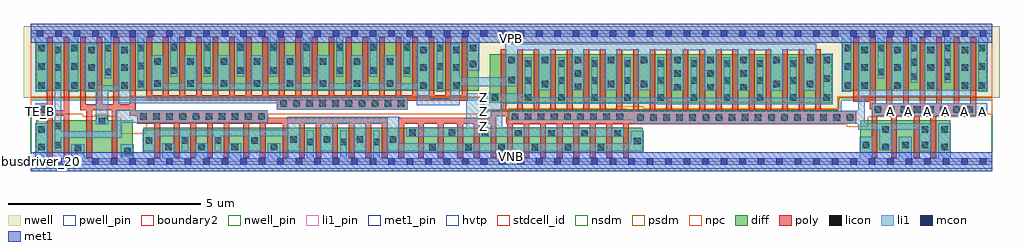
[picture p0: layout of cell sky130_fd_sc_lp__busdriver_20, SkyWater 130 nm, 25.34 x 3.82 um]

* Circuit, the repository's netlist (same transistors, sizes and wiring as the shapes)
* Copyright 2020 The SkyWater PDK Authors
*
* Licensed under the Apache License, Version 2.0 (the "License");
* you may not use this file except in compliance with the License.
* You may obtain a copy of the License at
*
*     https://www.apache.org/licenses/LICENSE-2.0
*
* Unless required by applicable law or agreed to in writing, software
* distributed under the License is distributed on an "AS IS" BASIS,
* WITHOUT WARRANTIES OR CONDITIONS OF ANY KIND, either express or implied.
* See the License for the specific language governing permissions and
* limitations under the License.
*
* SPDX-License-Identifier: Apache-2.0

.SUBCKT sky130_fd_sc_lp__busdriver_20 A TE_B VGND VNB VPB VPWR Z
*.PININFO A:I TE_B:I VGND:I VNB:I VPB:I VPWR:I Z:O
MMN0 Z net50 sndA VNB sky130_fd_pr__nfet_01v8 m=14 w=0.64U l=0.15U mult=1 sa=0.265
+ sb=0.265 sd=0.28 area=0.063 perim=1.14
MMN1 sndA net47 VGND VNB sky130_fd_pr__nfet_01v8 m=14 w=0.64U l=0.15U mult=1 sa=0.265
+ sb=0.265 sd=0.28 area=0.063 perim=1.14
MMIN1 net47 TE_B VGND VNB sky130_fd_pr__nfet_01v8 m=2 w=0.84U l=0.15U mult=1 sa=0.265
+ sb=0.265 sd=0.28 area=0.063 perim=1.14
MI6 net50 A VGND VNB sky130_fd_pr__nfet_01v8 m=4 w=0.84U l=0.15U mult=1 sa=0.265
+ sb=0.265 sd=0.28 area=0.063 perim=1.14
MI8 net62 net47 VGND VNB sky130_fd_pr__nfet_01v8 m=2 w=0.84U l=0.15U mult=1 sa=0.265
+ sb=0.265 sd=0.28 area=0.063 perim=1.14
MMP0 VPWR net62 sndTEB VPB sky130_fd_pr__pfet_01v8_hvt m=20 w=1.26U l=0.15U mult=1
+ sa=0.265 sb=0.265 sd=0.28 area=0.063 perim=1.14
MMP1 sndTEB net50 Z VPB sky130_fd_pr__pfet_01v8_hvt m=20 w=1.26U l=0.15U mult=1
+ sa=0.265 sb=0.265 sd=0.28 area=0.063 perim=1.14
MMIP1 net47 TE_B VPWR VPB sky130_fd_pr__pfet_01v8_hvt m=2 w=1.26U l=0.15U mult=1
+ sa=0.265 sb=0.265 sd=0.28 area=0.063 perim=1.14
MI7 net62 net47 VPWR VPB sky130_fd_pr__pfet_01v8_hvt m=4 w=1.26U l=0.15U mult=1
+ sa=0.265 sb=0.265 sd=0.28 area=0.063 perim=1.14
MI5 net50 A VPWR VPB sky130_fd_pr__pfet_01v8_hvt m=8 w=1.26U l=0.15U mult=1 sa=0.265
+ sb=0.265 sd=0.28 area=0.063 perim=1.14
.ENDS sky130_fd_sc_lp__busdriver_20

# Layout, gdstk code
import gdstk
lib = gdstk.Library(unit=1e-6, precision=1e-09)
def R(c, l, rs):  # rectangles x0, y0, x1, y1
    for r in rs: c.add(gdstk.rectangle(r[:2], r[2:], *l))
def A(c, l, x, y, w, h, nx, ny, dx, dy):  # array of equal rectangles
    R(c, l, [(x+i*dx, y+j*dy, x+i*dx+w, y+j*dy+h) for i in range(nx) for j in range(ny)])
def P(c, l, *ps):  # polygons
    for p in ps: c.add(gdstk.Polygon(p, *l))
nwell_pin = (64, 16)
nwell = (64, 20)
diff = (65, 20)
poly = (66, 20)
licon = (66, 44)
li1_pin = (67, 16)
li1 = (67, 20)
mcon = (67, 44)
met1_pin = (68, 16)
met1 = (68, 20)
hvtp = (78, 44)
stdcell_id = (81, 4)
nsdm = (93, 44)
psdm = (94, 20)
npc = (95, 20)
pwell_pin = (122, 16)
boundary2 = (236, 0)

sky130_fd_sc_lp__busdriv = lib.new_cell('sky130_fd_sc_lp__busdriver_20')
R(sky130_fd_sc_lp__busdriv, nwell_pin, [(0,3.085,24.96,3.33)])
P(sky130_fd_sc_lp__busdriv, nwell, [(25.15,3.52),(-0.19,3.52),(-0.19,1.655),(11.73,1.655),(11.73,1.345),(20.98,1.345),(20.98,1.655),(25.15,1.655)])
R(sky130_fd_sc_lp__busdriv, diff, [(2.92,0.235,15.89,0.875), (21.54,0.235,23.87,1.075), (11.91,1.525,20.8,2.785), (0.135,1.835,11.625,3.095), (21.07,1.835,24.825,3.095)])
P(sky130_fd_sc_lp__busdriv, diff, [(2.65,1.075),(1.99,1.075),(1.99,1.205),(1.7,1.205),(1.7,1.075),(0.135,1.075),(0.135,0.235),(1.075,0.235),(1.075,0.215),(1.365,0.215),(1.365,0.235),(2.36,0.235),(2.36,0.135),(2.65,0.135)])
P(sky130_fd_sc_lp__busdriv, poly, [(1,3.225),(0.85,3.225),(0.85,1.335),(0.57,1.335),(0.57,3.225),(0.42,3.225),(0.42,1.515),(0.115,1.515),(0.115,1.185),(0.42,1.185),(0.42,0.105),(0.57,0.105),(0.57,1.185),(0.85,1.185),(0.85,0.105),(1,0.105)],
  [(9.265,1.135),(6.15,1.135),(6.15,1.335),(2.72,1.335),(2.72,3.225),(2.57,3.225),(2.57,1.485),(2.29,1.485),(2.29,3.225),(2.14,3.225),(2.14,1.485),(1.86,1.485),(1.86,3.225),(1.71,3.225),(1.71,1.485),(1.43,1.485),(1.43,3.225),(1.28,3.225),(1.28,1.335),(1.44,1.335),(1.44,0.105),(1.59,0.105),(1.59,1.335),(2.1,1.335),(2.1,0.105),(2.25,0.105),(2.25,1.335),(2.57,1.335),(2.57,1.185),(2.76,1.185),(2.76,0.985),(3.205,0.985),(3.205,0.105),(3.355,0.105),(3.355,0.985),(3.715,0.985),(3.715,0.105),(3.865,0.105),(3.865,0.985),(4.145,0.985),(4.145,0.105),(4.295,0.105),(4.295,0.985),(4.575,0.985),(4.575,0.105),(4.725,0.105),(4.725,0.985),(5.005,0.985),(5.005,0.105),(5.155,0.105),(5.155,0.985),(5.515,0.985),(5.515,0.105),(5.665,0.105),(5.665,0.985),(5.945,0.985),(5.945,0.105),(6.095,0.105),(6.095,0.985),(6.535,0.985),(6.535,0.105),(6.685,0.105),(6.685,0.985),(6.965,0.985),(6.965,0.105),(7.115,0.105),(7.115,0.985),(7.395,0.985),(7.395,0.105),(7.545,0.105),(7.545,0.985),(7.825,0.985),(7.825,0.105),(7.975,0.105),(7.975,0.985),(8.255,0.985),(8.255,0.105),(8.405,0.105),(8.405,0.985),(8.685,0.985),(8.685,0.105),(8.835,0.105),(8.835,0.985),(9.115,0.985),(9.115,0.105),(9.265,0.105)],
  [(11.34,3.225),(11.19,3.225),(11.19,1.725),(10.91,1.725),(10.91,3.225),(10.76,3.225),(10.76,1.725),(10.48,1.725),(10.48,3.225),(10.33,3.225),(10.33,1.725),(10.05,1.725),(10.05,3.225),(9.9,3.225),(9.9,1.725),(9.62,1.725),(9.62,3.225),(9.47,3.225),(9.47,1.725),(9.19,1.725),(9.19,3.225),(9.04,3.225),(9.04,1.725),(8.76,1.725),(8.76,3.225),(8.61,3.225),(8.61,1.725),(8.33,1.725),(8.33,3.225),(8.18,3.225),(8.18,1.725),(7.88,1.725),(7.88,3.225),(7.73,3.225),(7.73,1.725),(7.45,1.725),(7.45,3.225),(7.3,3.225),(7.3,1.725),(7.02,1.725),(7.02,3.225),(6.87,3.225),(6.87,1.725),(6.59,1.725),(6.59,3.225),(6.44,3.225),(6.44,1.725),(6.16,1.725),(6.16,3.225),(6.01,3.225),(6.01,1.725),(5.73,1.725),(5.73,3.225),(5.58,3.225),(5.58,1.725),(5.3,1.725),(5.3,3.225),(5.15,3.225),(5.15,1.725),(4.87,1.725),(4.87,3.225),(4.72,3.225),(4.72,1.725),(4.44,1.725),(4.44,3.225),(4.29,3.225),(4.29,1.725),(4.01,1.725),(4.01,3.225),(3.86,3.225),(3.86,1.725),(3.58,1.725),(3.58,3.225),(3.43,3.225),(3.43,1.725),(3.15,1.725),(3.15,3.225),(3,3.225),(3,1.575),(6.39,1.575),(6.39,1.345),(9.78,1.345),(9.78,1.575),(11.34,1.575)],
  [(24.54,3.225),(24.39,3.225),(24.39,1.515),(24.11,1.515),(24.11,3.225),(23.96,3.225),(23.96,1.515),(23.655,1.515),(23.655,3.225),(23.505,3.225),(23.505,1.515),(23.225,1.515),(23.225,3.225),(23.075,3.225),(23.075,1.515),(22.795,1.515),(22.795,3.225),(22.645,3.225),(22.645,1.515),(22.365,1.515),(22.365,3.225),(22.215,3.225),(22.215,1.515),(21.935,1.515),(21.935,3.225),(21.785,3.225),(21.785,1.705),(21.505,1.705),(21.505,3.225),(21.355,3.225),(21.355,1.555),(21.785,1.555),(21.785,1.365),(21.83,1.365),(21.83,0.105),(21.98,0.105),(21.98,1.185),(22.335,1.185),(22.335,0.105),(22.485,0.105),(22.485,1.185),(22.925,1.185),(22.925,0.105),(23.075,0.105),(23.075,1.185),(23.355,1.185),(23.355,0.105),(23.505,0.105),(23.505,1.185),(24.54,1.185)],
  [(21.43,1.315),(20.515,1.315),(20.515,2.915),(20.365,2.915),(20.365,1.315),(20.085,1.315),(20.085,2.915),(19.935,2.915),(19.935,1.315),(19.655,1.315),(19.655,2.915),(19.505,2.915),(19.505,1.315),(19.225,1.315),(19.225,2.915),(19.075,2.915),(19.075,1.315),(18.795,1.315),(18.795,2.915),(18.645,2.915),(18.645,1.325),(18.365,1.325),(18.365,2.915),(18.215,2.915),(18.215,1.325),(17.935,1.325),(17.935,2.915),(17.785,2.915),(17.785,1.325),(17.505,1.325),(17.505,2.915),(17.355,2.915),(17.355,1.325),(17.075,1.325),(17.075,2.915),(16.925,2.915),(16.925,1.325),(16.645,1.325),(16.645,2.915),(16.495,2.915),(16.495,1.325),(16.215,1.325),(16.215,2.915),(16.065,2.915),(16.065,1.325),(15.785,1.325),(15.785,2.915),(15.635,2.915),(15.635,1.325),(15.355,1.325),(15.355,2.915),(15.205,2.915),(15.205,1.325),(14.925,1.325),(14.925,2.915),(14.775,2.915),(14.775,1.325),(14.495,1.325),(14.495,2.915),(14.345,2.915),(14.345,1.325),(14.065,1.325),(14.065,2.915),(13.915,2.915),(13.915,1.325),(13.635,1.325),(13.635,2.915),(13.485,2.915),(13.485,1.325),(13.205,1.325),(13.205,2.915),(13.055,2.915),(13.055,1.325),(12.775,1.325),(12.775,2.915),(12.625,2.915),(12.625,1.325),(12.345,1.325),(12.345,2.915),(12.195,2.915),(12.195,1.325),(11.935,1.325),(11.935,1.135),(9.545,1.135),(9.545,0.105),(9.695,0.105),(9.695,0.985),(10.055,0.985),(10.055,0.105),(10.205,0.105),(10.205,0.985),(10.565,0.985),(10.565,0.105),(10.715,0.105),(10.715,0.985),(11.075,0.985),(11.075,0.105),(11.225,0.105),(11.225,0.985),(11.505,0.985),(11.505,0.105),(11.655,0.105),(11.655,0.985),(11.935,0.985),(11.935,0.105),(12.085,0.105),(12.085,1.175),(12.345,1.175),(12.345,0.985),(12.365,0.985),(12.365,0.105),(12.515,0.105),(12.515,0.985),(12.795,0.985),(12.795,0.105),(12.945,0.105),(12.945,0.985),(13.225,0.985),(13.225,0.105),(13.375,0.105),(13.375,0.985),(13.655,0.985),(13.655,0.105),(13.805,0.105),(13.805,0.985),(14.085,0.985),(14.085,0.105),(14.235,0.105),(14.235,0.985),(14.515,0.985),(14.515,0.105),(14.665,0.105),(14.665,0.985),(14.945,0.985),(14.945,0.105),(15.095,0.105),(15.095,0.985),(15.375,0.985),(15.375,0.105),(15.525,0.105),(15.525,0.985),(21.43,0.985)])
A(sky130_fd_sc_lp__busdriv, licon, 11.28, 0.295, 0.17, 0.17, 5, 1, 0.86, 0)
A(sky130_fd_sc_lp__busdriv, licon, 3.49, 0.3, 0.17, 0.17, 3, 1, 0.86, 0)
A(sky130_fd_sc_lp__busdriv, licon, 7.17, 0.43, 0.17, 0.17, 3, 1, 0.86, 0)
A(sky130_fd_sc_lp__busdriv, licon, 6.74, 0.495, 0.17, 0.17, 4, 1, 0.86, 0)
A(sky130_fd_sc_lp__busdriv, licon, 11.71, 0.645, 0.17, 0.17, 5, 1, 0.86, 0)
A(sky130_fd_sc_lp__busdriv, licon, 15.74, 1.065, 0.17, 0.17, 17, 1, 0.34, 0)
A(sky130_fd_sc_lp__busdriv, licon, 12.485, 1.075, 0.17, 0.17, 9, 1, 0.34, 0)
A(sky130_fd_sc_lp__busdriv, licon, 2.84, 1.085, 0.17, 0.17, 10, 1, 0.34, 0)
A(sky130_fd_sc_lp__busdriv, licon, 21.91, 1.265, 0.17, 0.17, 8, 1, 0.34, 0)
A(sky130_fd_sc_lp__busdriv, licon, 6.47, 1.425, 0.17, 0.17, 10, 1, 0.34, 0)
A(sky130_fd_sc_lp__busdriv, licon, 11.97, 1.585, 0.17, 0.17, 11, 1, 0.86, 0)
A(sky130_fd_sc_lp__busdriv, licon, 16.7, 1.845, 0.17, 0.17, 3, 2, 0.86, 0.355)
A(sky130_fd_sc_lp__busdriv, licon, 0.195, 1.895, 0.17, 0.17, 4, 1, 0.43, 0)
A(sky130_fd_sc_lp__busdriv, licon, 10.105, 1.895, 0.17, 0.17, 3, 1, 0.43, 0)
A(sky130_fd_sc_lp__busdriv, licon, 21.56, 1.895, 0.17, 0.17, 3, 3, 0.86, 0.46)
A(sky130_fd_sc_lp__busdriv, licon, 24.165, 1.895, 0.17, 0.17, 1, 3, 0, 0.46)
A(sky130_fd_sc_lp__busdriv, licon, 24.595, 1.895, 0.17, 0.17, 1, 3, 0, 0.485)
A(sky130_fd_sc_lp__busdriv, licon, 3.205, 1.945, 0.17, 0.17, 6, 2, 0.86, 0.57)
A(sky130_fd_sc_lp__busdriv, licon, 12.83, 2.025, 0.17, 0.17, 9, 2, 0.86, 0.44)
A(sky130_fd_sc_lp__busdriv, licon, 3.635, 2.285, 0.17, 0.17, 6, 2, 0.86, 0.6)
A(sky130_fd_sc_lp__busdriv, licon, 0.625, 2.355, 0.17, 0.17, 3, 2, 0.86, 0.46)
A(sky130_fd_sc_lp__busdriv, licon, 12.4, 2.555, 0.17, 0.17, 10, 1, 0.86, 0)
A(sky130_fd_sc_lp__busdriv, licon, 0.195, 2.865, 0.17, 0.17, 4, 1, 0.86, 0)
A(sky130_fd_sc_lp__busdriv, licon, 21.13, 2.865, 0.17, 0.17, 4, 1, 0.86, 0)
R(sky130_fd_sc_lp__busdriv, licon, [(2.42,0.195,2.59,0.365), (1.135,0.275,1.305,0.445), (0.195,0.295,0.365,0.465), (10.34,0.295,10.51,0.465), (22.11,0.295,22.28,0.465), (23.64,0.295,23.81,0.465), (6.23,0.3,6.4,0.47), (0.625,0.345,0.795,0.515), (21.6,0.345,21.77,0.515), (22.62,0.345,22.79,0.515), (23.13,0.345,23.3,0.515), (15.66,0.45,15.83,0.62), (2.98,0.46,3.15,0.63), (3.92,0.46,4.09,0.63), (4.78,0.46,4.95,0.63), (5.72,0.46,5.89,0.63), (9.83,0.665,10,0.835), (10.85,0.665,11.02,0.835), (0.195,0.75,0.365,0.92), (22.11,0.75,22.28,0.92), (23.13,0.75,23.3,0.92), (23.64,0.75,23.81,0.92), (0.625,0.845,0.795,1.015), (1.76,0.975,1.93,1.145), (0.195,1.265,0.365,1.435), (14.12,1.855,14.29,2.025), (2.345,1.895,2.515,2.065), (21.13,1.895,21.3,2.065), (19.28,1.925,19.45,2.095), (20.14,1.925,20.31,2.095), (2.775,1.935,2.945,2.105), (13.26,1.935,13.43,2.105), (14.98,1.935,15.15,2.105), (15.84,1.935,16.01,2.105), (8.385,1.945,8.555,2.115), (9.245,1.945,9.415,2.115), (12.4,2.04,12.57,2.21), (20.57,2.07,20.74,2.24), (22.85,2.125,23.02,2.295), (23.71,2.125,23.88,2.295), (14.12,2.205,14.29,2.375), (1.915,2.245,2.085,2.415), (21.99,2.245,22.16,2.415), (8.815,2.285,8.985,2.455), (9.675,2.285,9.845,2.455), (10.105,2.355,10.275,2.525), (10.965,2.355,11.135,2.525), (0.195,2.38,0.365,2.55), (1.055,2.38,1.225,2.55), (10.535,2.38,10.705,2.55), (21.13,2.38,21.3,2.55), (2.775,2.4,2.945,2.57), (11.395,2.445,11.565,2.615), (22.85,2.495,23.02,2.665), (23.71,2.495,23.88,2.665), (8.385,2.515,8.555,2.685), (9.245,2.515,9.415,2.685), (20.57,2.555,20.74,2.725), (10.105,2.815,10.275,2.985), (10.965,2.815,11.135,2.985), (10.535,2.865,10.705,3.035), (11.395,2.865,11.565,3.035), (8.815,2.885,8.985,3.055), (9.675,2.885,9.845,3.055)])
A(sky130_fd_sc_lp__busdriv, li1_pin, 11.675, 0.84, 0.17, 0.17, 1, 3, 0, 0.37)
A(sky130_fd_sc_lp__busdriv, li1_pin, 22.235, 1.21, 0.17, 0.17, 6, 1, 0.48, 0)
R(sky130_fd_sc_lp__busdriv, li1_pin, [(0.155,1.21,0.325,1.38)])
R(sky130_fd_sc_lp__busdriv, li1, [(0.115,1.18,0.445,1.515), (21.83,1.18,24.835,1.515)])
P(sky130_fd_sc_lp__busdriv, li1, [(9.78,1.685),(2.595,1.685),(2.595,3.065),(2.265,3.065),(2.265,1.985),(1.735,1.985),(1.735,3.065),(1.405,3.065),(1.405,1.815),(1.68,1.815),(1.68,0.975),(2.01,0.975),(2.01,1.815),(2.265,1.815),(2.265,1.515),(6.39,1.515),(6.39,1.345),(9.78,1.345)],
  [(6.15,1.335),(2.19,1.335),(2.19,0.795),(0.795,0.795),(0.795,3.065),(0.625,3.065),(0.625,0.265),(0.795,0.265),(0.795,0.625),(2.36,0.625),(2.36,1.005),(6.15,1.005)],
  [(20.82,2.805),(20.57,2.805),(20.57,1.665),(19.88,1.665),(19.88,2.715),(19.71,2.715),(19.71,1.665),(19.02,1.665),(19.02,2.715),(18.85,2.715),(18.85,1.665),(18.16,1.665),(18.16,2.715),(17.99,2.715),(17.99,1.665),(17.3,1.665),(17.3,2.715),(17.13,2.715),(17.13,1.665),(16.44,1.665),(16.44,2.715),(16.27,2.715),(16.27,1.675),(15.58,1.675),(15.58,2.715),(15.41,2.715),(15.41,1.675),(14.72,1.675),(14.72,2.715),(14.55,2.715),(14.55,1.675),(13.86,1.675),(13.86,2.715),(13.69,2.715),(13.69,1.675),(13,1.675),(13,2.715),(12.83,2.715),(12.83,1.78),(11.305,1.78),(11.305,0.895),(9.75,0.895),(9.75,0.645),(15.4,0.645),(15.4,0.895),(12.235,0.895),(12.235,1.505),(16.27,1.505),(16.27,1.495),(20.82,1.495)],
  [(20.39,3.065),(12.32,3.065),(12.32,2.185),(11.135,2.185),(11.135,3.065),(10.885,3.065),(10.885,1.635),(10.355,1.635),(10.355,3.065),(10.025,3.065),(10.025,2.035),(9.495,2.035),(9.495,2.765),(9.165,2.765),(9.165,2.035),(8.635,2.035),(8.635,2.765),(8.305,2.765),(8.305,2.035),(7.755,2.035),(7.755,2.765),(7.425,2.765),(7.425,2.035),(6.895,2.035),(6.895,2.765),(6.565,2.765),(6.565,2.035),(6.035,2.035),(6.035,2.765),(5.705,2.765),(5.705,2.035),(5.175,2.035),(5.175,2.765),(4.845,2.765),(4.845,2.035),(4.315,2.035),(4.315,2.765),(3.985,2.765),(3.985,2.035),(3.455,2.035),(3.455,2.765),(3.125,2.765),(3.125,1.865),(10.025,1.865),(10.025,1.465),(11.135,1.465),(11.135,1.96),(12.65,1.96),(12.65,2.895),(13.18,2.895),(13.18,1.855),(13.51,1.855),(13.51,2.895),(14.04,2.895),(14.04,1.855),(14.37,1.855),(14.37,2.895),(14.9,2.895),(14.9,1.855),(15.23,1.855),(15.23,2.895),(15.76,2.895),(15.76,1.855),(16.09,1.855),(16.09,2.895),(16.62,2.895),(16.62,1.845),(16.95,1.845),(16.95,2.895),(17.48,2.895),(17.48,1.845),(17.81,1.845),(17.81,2.895),(18.34,2.895),(18.34,1.845),(18.67,1.845),(18.67,2.895),(19.2,2.895),(19.2,1.845),(19.53,1.845),(19.53,2.895),(20.06,2.895),(20.06,1.845),(20.39,1.845)],
  [(15.91,0.805),(15.58,0.805),(15.58,0.475),(9.57,0.475),(9.57,1.165),(6.66,1.165),(6.66,0.825),(2.9,0.825),(2.9,0.265),(3.23,0.265),(3.23,0.655),(3.92,0.655),(3.92,0.265),(4.09,0.265),(4.09,0.655),(4.78,0.655),(4.78,0.265),(4.95,0.265),(4.95,0.655),(5.64,0.655),(5.64,0.265),(5.97,0.265),(5.97,0.655),(6.66,0.655),(6.66,0.265),(6.99,0.265),(6.99,0.995),(7.52,0.995),(7.52,0.265),(7.85,0.265),(7.85,0.995),(8.38,0.995),(8.38,0.265),(8.71,0.265),(8.71,0.995),(9.24,0.995),(9.24,0.265),(15.91,0.265)],
  [(24.415,3.065),(24.085,3.065),(24.085,1.865),(23.53,1.865),(23.53,3.065),(23.2,3.065),(23.2,1.865),(22.67,1.865),(22.67,3.065),(22.34,3.065),(22.34,1.865),(21.81,1.865),(21.81,3.065),(21.48,3.065),(21.48,1.315),(15.455,1.315),(15.455,1.325),(12.405,1.325),(12.405,1.075),(15.66,1.075),(15.66,0.985),(21.48,0.985),(21.48,0.83),(22.03,0.83),(22.03,0.295),(22.36,0.295),(22.36,0.83),(23.05,0.83),(23.05,0.265),(23.38,0.265),(23.38,1),(21.65,1),(21.65,1.695),(24.415,1.695)],
  [(24.96,0.085),(23.89,0.085),(23.89,1),(23.56,1),(23.56,0.085),(22.87,0.085),(22.87,0.65),(22.54,0.65),(22.54,0.085),(21.85,0.085),(21.85,0.65),(21.52,0.65),(21.52,0.085),(9.06,0.085),(9.06,0.815),(8.89,0.815),(8.89,0.085),(8.2,0.085),(8.2,0.815),(8.03,0.815),(8.03,0.085),(7.34,0.085),(7.34,0.815),(7.17,0.815),(7.17,0.085),(6.48,0.085),(6.48,0.475),(6.15,0.475),(6.15,0.085),(5.46,0.085),(5.46,0.475),(5.13,0.475),(5.13,0.085),(4.6,0.085),(4.6,0.475),(4.27,0.475),(4.27,0.085),(3.74,0.085),(3.74,0.475),(3.41,0.475),(3.41,0.085),(2.67,0.085),(2.67,0.445),(2.34,0.445),(2.34,0.085),(1.385,0.085),(1.385,0.445),(1.055,0.445),(1.055,0.085),(0.445,0.085),(0.445,1),(0.115,1),(0.115,0.085),(0,0.085),(0,-0.085),(24.96,-0.085)],
  [(24.96,3.415),(0,3.415),(0,3.245),(0.115,3.245),(0.115,1.815),(0.445,1.815),(0.445,3.245),(0.975,3.245),(0.975,1.815),(1.225,1.815),(1.225,3.245),(1.915,3.245),(1.915,2.165),(2.085,2.165),(2.085,3.245),(2.775,3.245),(2.775,1.855),(2.945,1.855),(2.945,3.245),(3.625,3.245),(3.625,2.205),(3.815,2.205),(3.815,3.245),(4.485,3.245),(4.485,2.205),(4.675,2.205),(4.675,3.245),(5.345,3.245),(5.345,2.205),(5.535,2.205),(5.535,3.245),(6.205,3.245),(6.205,2.205),(6.395,2.205),(6.395,3.245),(7.065,3.245),(7.065,2.205),(7.255,2.205),(7.255,3.245),(7.925,3.245),(7.925,2.205),(8.115,2.205),(8.115,3.245),(8.805,3.245),(8.805,2.205),(8.995,2.205),(8.995,3.245),(9.665,3.245),(9.665,2.205),(9.855,2.205),(9.855,3.245),(10.535,3.245),(10.535,1.815),(10.705,1.815),(10.705,3.245),(11.315,3.245),(11.315,2.365),(11.645,2.365),(11.645,3.245),(21.05,3.245),(21.05,1.815),(21.3,1.815),(21.3,3.245),(21.99,3.245),(21.99,2.165),(22.16,2.165),(22.16,3.245),(22.85,3.245),(22.85,2.045),(23.02,2.045),(23.02,3.245),(23.71,3.245),(23.71,2.045),(23.88,2.045),(23.88,3.245),(24.595,3.245),(24.595,1.815),(24.845,1.815),(24.845,3.245),(24.96,3.245)])
A(sky130_fd_sc_lp__busdriv, mcon, 0.155, -0.085, 0.17, 0.17, 52, 2, 0.48, 3.33)
R(sky130_fd_sc_lp__busdriv, met1_pin, [(0,0,24.96,0.245), (0,3.085,24.96,3.33)])
R(sky130_fd_sc_lp__busdriv, met1, [(0,-0.245,24.96,0.245), (0,3.085,24.96,3.575)])
P(sky130_fd_sc_lp__busdriv, hvtp, [(24.96,3.33),(0,3.33),(0,1.6),(11.675,1.6),(11.675,1.29),(21.035,1.29),(21.035,1.6),(24.96,1.6)])
R(sky130_fd_sc_lp__busdriv, stdcell_id, [(0,0,24.96,3.33)])
P(sky130_fd_sc_lp__busdriv, nsdm, [(24.96,1.655),(20.98,1.655),(20.98,1.345),(11.73,1.345),(11.73,1.655),(0,1.655),(0,-0.19),(24.96,-0.19)])
P(sky130_fd_sc_lp__busdriv, psdm, [(24.96,3.52),(0,3.52),(0,1.655),(6.36,1.655),(6.36,1.705),(9.81,1.705),(9.81,1.655),(11.73,1.655),(11.73,1.345),(12.375,1.345),(12.375,1.355),(15.485,1.355),(15.485,1.345),(20.98,1.345),(20.98,1.655),(24.96,1.655)])
P(sky130_fd_sc_lp__busdriv, npc, [(11.77,1.695),(0,1.695),(0,1.165),(0.465,1.165),(0.465,1.23),(1.345,1.23),(1.345,1.165),(1.67,1.165),(1.67,1.235),(2.02,1.235),(2.02,1.165),(2.34,1.165),(2.34,0.72),(3.005,0.72),(3.005,0.985),(6.17,0.985),(6.17,1.23),(11.77,1.23)],
  [(24.96,1.695),(20.94,1.695),(20.94,1.385),(15.905,1.385),(15.905,1.435),(15.21,1.435),(15.21,1.385),(12.385,1.385),(12.385,0.975),(15.21,0.975),(15.21,0.965),(21.185,0.965),(21.185,0.9),(21.74,0.9),(21.74,1.165),(24.56,1.165),(24.56,1.23),(24.96,1.23)])
R(sky130_fd_sc_lp__busdriv, pwell_pin, [(0,0,24.96,0.245)])
R(sky130_fd_sc_lp__busdriv, boundary2, [(0,0,24.96,3.33)])
sky130_fd_sc_lp__busdriv.add(gdstk.Label('VNB', (12.48,0.123), layer=64, texttype=59))
sky130_fd_sc_lp__busdriv.add(gdstk.Label('VPB', (12.48,3.208), layer=64, texttype=5))
sky130_fd_sc_lp__busdriv.add(gdstk.Label('busdriver_20', (0,0), layer=83, texttype=44))
sky130_fd_sc_lp__busdriv.add(gdstk.Label('VPWR', (12.48,3.208), layer=68, texttype=5))
sky130_fd_sc_lp__busdriv.add(gdstk.Label('VGND', (12.48,0.123), layer=68, texttype=5))
sky130_fd_sc_lp__busdriv.add(gdstk.Label('Z', (11.76,1.665), layer=67, texttype=5))
sky130_fd_sc_lp__busdriv.add(gdstk.Label('A', (22.32,1.295), layer=67, texttype=5))
sky130_fd_sc_lp__busdriv.add(gdstk.Label('A', (22.8,1.295), layer=67, texttype=5))
sky130_fd_sc_lp__busdriv.add(gdstk.Label('A', (23.28,1.295), layer=67, texttype=5))
sky130_fd_sc_lp__busdriv.add(gdstk.Label('A', (23.76,1.295), layer=67, texttype=5))
sky130_fd_sc_lp__busdriv.add(gdstk.Label('A', (24.24,1.295), layer=67, texttype=5))
sky130_fd_sc_lp__busdriv.add(gdstk.Label('A', (24.72,1.295), layer=67, texttype=5))
sky130_fd_sc_lp__busdriv.add(gdstk.Label('TE_B', (0.24,1.295), layer=67, texttype=5))
sky130_fd_sc_lp__busdriv.add(gdstk.Label('Z', (11.76,1.295), layer=67, texttype=5))
sky130_fd_sc_lp__busdriv.add(gdstk.Label('Z', (11.76,0.925), layer=67, texttype=5))

lib.write_gds('sky130_fd_sc_lp__busdriver_20.gds')
